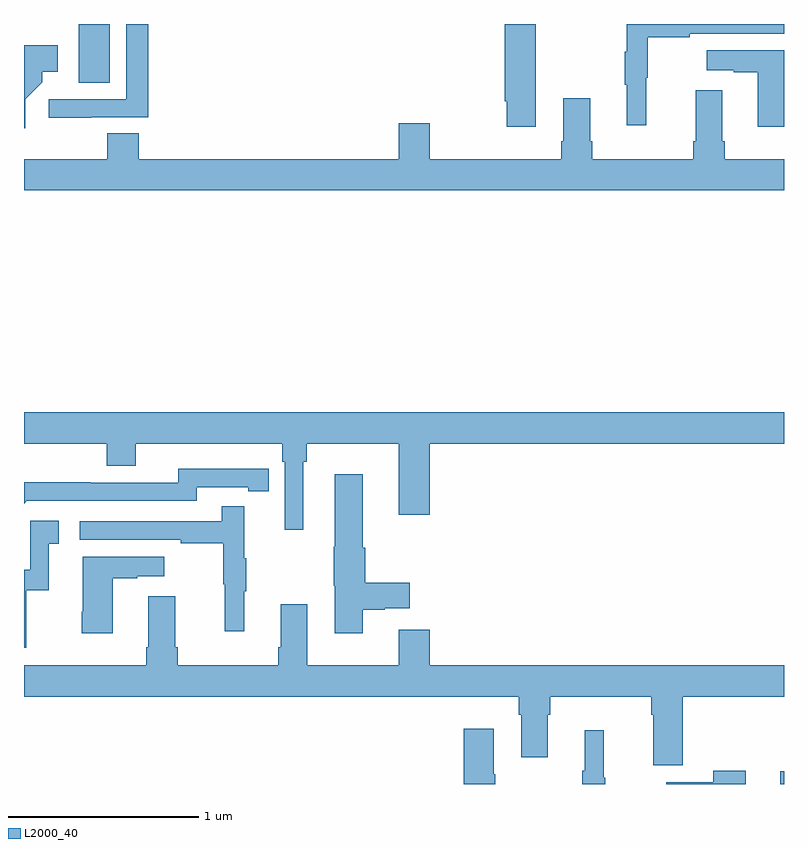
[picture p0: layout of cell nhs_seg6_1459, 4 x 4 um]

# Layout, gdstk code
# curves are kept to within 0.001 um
import gdstk
lib = gdstk.Library(unit=1e-6, precision=1e-09)
def R(c, l, rs):  # rectangles x0, y0, x1, y1
    for r in rs: c.add(gdstk.rectangle(r[:2], r[2:], *l))
def P(c, l, *ps):  # polygons
    for p in ps: c.add(gdstk.Polygon(p, *l))
L2000_40 = (2000, 40)

nhs_seg6_1459 = lib.new_cell('nhs_seg6_1459')
R(nhs_seg6_1459, L2000_40, [(202.979,989.5,203,989.566), (199.289,993.192,199.45,993.5)])
P(nhs_seg6_1459, L2000_40, [(199.355,993.009),(199.655,993.009),(199.655,993.5),(199.539,993.5),(199.539,993.105),(199.131,993.105),(199.131,993.007),(199.355,993.007)],
  [(202.274,993.216),(202.282,993.216),(202.282,993.43),(202.505,993.43),(202.505,993.45),(203,993.45),(203,993.5),(202.172,993.5),(202.172,993.353),(202.161,993.353),(202.161,993.179),(202.172,993.179),(202.172,992.967),(202.274,992.967)],
  [(201.694,993.5),(201.53,993.5),(201.53,993.093),(201.541,993.093),(201.541,992.958),(201.694,992.958)],
  [(199.006,993.103),(199.096,993.193),(199.096,993.248),(199.177,993.248),(199.177,993.388),(199,993.388),(199,992.952),(199.006,992.952)],
  [(203,993.361),(202.593,993.361),(202.593,993.257),(202.736,993.257),(202.736,993.247),(202.862,993.247),(202.862,992.958),(203,992.958)],
  [(203,992.788),(202.688,992.788),(202.688,992.884),(202.675,992.884),(202.675,993.151),(202.535,993.151),(202.535,992.884),(202.523,992.884),(202.523,992.788),(201.992,992.788),(201.992,992.884),(201.979,992.884),(201.979,993.109),(201.839,993.109),(201.839,992.884),(201.827,992.884),(201.827,992.788),(201.136,992.788),(201.136,992.977),(200.972,992.977),(200.972,992.788),(199.604,992.788),(199.604,992.924),(199.439,992.924),(199.439,992.788),(199,992.788),(199,992.624),(203,992.624)],
  [(200.47,991.196),(200.489,991.196),(200.489,991.292),(200.972,991.292),(200.972,990.918),(201.136,990.918),(201.136,991.292),(203,991.292),(203,991.456),(199,991.456),(199,991.292),(199.436,991.292),(199.436,991.175),(199.588,991.175),(199.588,991.292),(200.36,991.292),(200.36,991.196),(200.373,991.196),(200.373,990.837),(200.47,990.837)],
  [(199.014,990.99),(199.908,990.99),(199.908,991.062),(200.18,991.062),(200.18,991.042),(200.288,991.042),(200.288,991.158),(199.812,991.159),(199.812,991.086),(199.352,991.086),(199.352,991.088),(199,991.088),(199,990.976)],
  [(200.782,990.418),(200.898,990.418),(200.898,990.425),(201.031,990.425),(201.031,990.56),(200.795,990.56),(200.795,990.743),(200.782,990.743),(200.782,991.129),(200.636,991.129),(200.636,990.749),(200.629,990.749),(200.629,990.543),(200.636,990.543),(200.636,990.294),(200.782,990.294)],
  [(200.159,990.515),(200.17,990.515),(200.17,990.689),(200.159,990.689),(200.159,990.961),(200.041,990.961),(200.041,990.882),(199.293,990.882),(199.293,990.786),(199.825,990.786),(199.825,990.766),(200.049,990.766),(200.049,990.552),(200.056,990.552),(200.056,990.303),(200.159,990.303)],
  [(199.012,990.519),(199.13,990.519),(199.13,990.765),(199.183,990.765),(199.183,990.886),(199.032,990.886),(199.032,990.627),(199,990.627),(199,990.216),(199.012,990.216)],
  [(199.468,990.583),(199.595,990.583),(199.595,990.593),(199.738,990.593),(199.738,990.697),(199.31,990.697),(199.31,990.406),(199.303,990.406),(199.303,990.294),(199.468,990.294)],
  [(202.466,989.96),(203,989.96),(203,990.124),(201.136,990.124),(201.136,990.313),(200.972,990.313),(200.972,990.124),(200.491,990.124),(200.491,990.445),(200.351,990.445),(200.351,990.22),(200.339,990.22),(200.339,990.124),(199.808,990.124),(199.808,990.22),(199.795,990.22),(199.795,990.487),(199.655,990.487),(199.655,990.22),(199.643,990.22),(199.643,990.124),(199,990.124),(199,989.96),(201.605,989.96),(201.605,989.864),(201.617,989.864),(201.617,989.64),(201.757,989.64),(201.757,989.864),(201.77,989.864),(201.77,989.96),(202.301,989.96),(202.301,989.864),(202.313,989.864),(202.313,989.598),(202.466,989.598)],
  [(201.48,989.552),(201.472,989.552),(201.472,989.791),(201.314,989.791),(201.314,989.5),(201.48,989.5)],
  [(202.06,989.532),(202.052,989.532),(202.052,989.782),(201.95,989.782),(201.95,989.569),(201.939,989.569),(201.939,989.5),(202.06,989.5)],
  [(202.798,989.569),(202.628,989.569),(202.628,989.509),(202.379,989.509),(202.379,989.5),(202.798,989.5)])

lib.write_gds('nhs_seg6_1459.gds')
